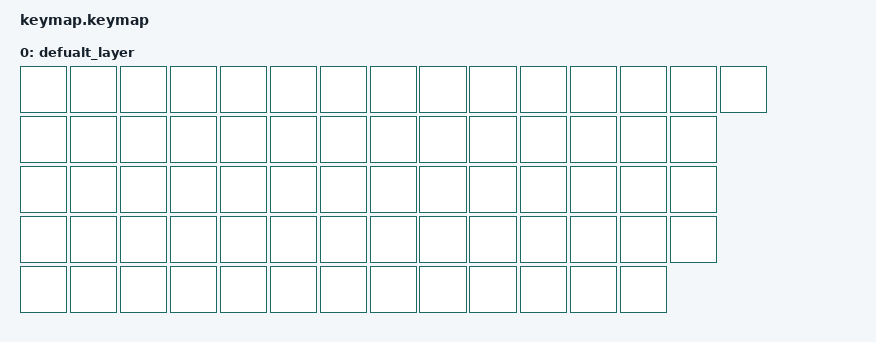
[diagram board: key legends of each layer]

#include <behaviors.dtsi>
#include <dt-bindings/zmk/keys.h>

/ {
    keymap {
        compatible = "zmk,keymap";

        defualt_layer {
            bindings =<
                &none &none &none &none &none &none &none &none &none &none &none &none &none &none &none
				&none &none &none &none &none &none &none &none &none &none &none &none &none &none
				&none &none &none &none &none &none &none &none &none &none &none &none &none &none
				&none &none &none &none &none &none &none &none &none &none &none &none &none &none
				&none &none &none &none &none &none &none &none &none &none &none &none &none
            >;
        };
    };
};
